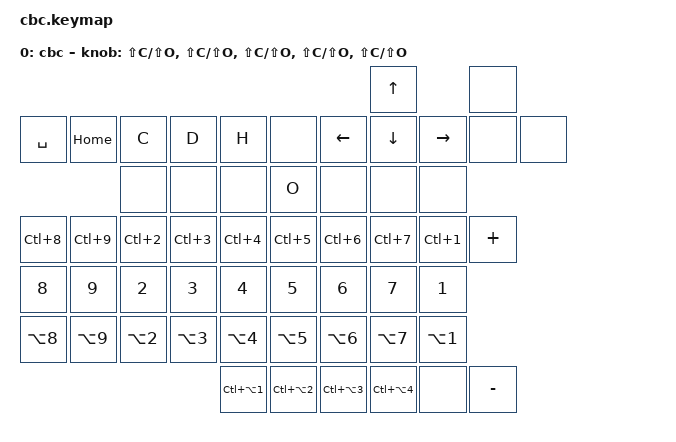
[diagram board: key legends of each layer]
#include <behaviors.dtsi>
#include <dt-bindings/zmk/keys.h>
#include <dt-bindings/zmk/bt.h>
#include <dt-bindings/zmk/outputs.h>

/ {
    keymap{
        compatible = "zmk,keymap";
        cbc{
            bindings = <
                                                                                                            &kp UP                      &none
            &kp SPACE   &kp HOME    &kp C       &kp D       &kp H           &none           &kp LEFT        &kp DOWN        &kp RIGHT   &none      &none
                                    &none       &none       &none           &kp O           &none           &none           &none     
            &kp LC(N8)  &kp LC(N9)  &kp LC(N2)  &kp LC(N3)  &kp LC(N4)      &kp LC(N5)      &kp LC(N6)      &kp LC(N7)      &kp LC(N1)  &kp PLUS
            &kp N8      &kp N9      &kp N2      &kp N3      &kp N4          &kp N5          &kp N6          &kp N7          &kp N1
            &kp LA(N8)  &kp LA(N9)  &kp LA(N2)  &kp LA(N3)  &kp LA(N4)      &kp LA(N5)      &kp LA(N6)      &kp LA(N7)      &kp LA(N1)
                                                            &kp LC(LA(N1))  &kp LC(LA(N2))  &kp LC(LA(N3))  &kp LC(LA(N4))  &none       &kp MINUS     
            >;
            sensor-bindings = <&inc_dec_kp LS(C) LS(O) &inc_dec_kp LS(C) LS(O) &inc_dec_kp LS(C) LS(O) &inc_dec_kp LS(C) LS(O) &inc_dec_kp LS(C) LS(O)>;
        };
    };

    sensors: sensors {
        compatible = "zmk,keymap-sensors";
        sensors = <&sw1_encoder &sw2_encoder &sw3_encoder &sw4_encoder &sw5_encoder>;
        triggers-per-rotation = <2>;
    };

    combos {
        compatible = "zmk,combos";
        
        pgdn {
            timeout-ms = <80>;
            key-positions = <12 11 9>;
            bindings = <&kp PG_DN>;
        };

        pgup{
            timeout-ms = <80>;
            key-positions = <12 11 0>;
            bindings = <&kp PG_UP>;
        };

        shft_pgdn{
            timeout-ms = <80>;
            key-positions = <12 1 11 9>;
            bindings = <&kp LS(PG_DN)>;
        };

        shft_1{
            timeout-ms = <80>;
            key-positions = <9 47>;
            bindings = <&kp LS(N1)>;
        };

        shft_2{
            timeout-ms = <80>;
            key-positions = <11 41>;
            bindings = <&kp LS(N2)>;
        };

        shft_3{
            timeout-ms = <80>;
            key-positions = <11 42>;
            bindings = <&kp LS(N3)>;
        };

        shft_4{
            timeout-ms = <80>;
            key-positions = <11 43>;
            bindings = <&kp LS(N4)>;
        };

        shft_5{
            timeout-ms = <80>;
            key-positions = <11 44>;
            bindings = <&kp LS(N5)>;
        };

        shft_6{
            timeout-ms = <80>;
            key-positions = <11 45>;
            bindings = <&kp LS(N6)>;
        };

        shft_7{
            timeout-ms = <80>;
            key-positions = <11 46>;
            bindings = <&kp LS(N7)>;
        };

        shft_8{
            timeout-ms = <80>;
            key-positions = <11 39>;
            bindings = <&kp LS(N8)>;
        };

        shft_9{
            timeout-ms = <80>;
            key-positions = <11 40>;
            bindings = <&kp LS(N9)>;
        };

        shft_ctrl_1{
            timeout-ms = <80>;
            key-positions = <12 47>;
            bindings = <&kp LS(LC(N1))>;
        };

        shft_ctrl_2{
            timeout-ms = <80>;
            key-positions = <12 41>;
            bindings = <&kp LS(LC(N2))>;
        };

        shft_ctrl_3{
            timeout-ms = <80>;
            key-positions = <21 42>;
            bindings = <&kp LS(LC(N3))>;
        };

        shft_ctrl_4{
            timeout-ms = <80>;
            key-positions = <12 43>;
            bindings = <&kp LS(LC(N4))>;
        };

        shft_ctrl_5{
            timeout-ms = <80>;
            key-positions = <12 44>;
            bindings = <&kp LS(LC(N5))>;
        };

        shft_ctrl_6{
            timeout-ms = <80>;
            key-positions = <12 45>;
            bindings = <&kp LS(LC(N6))>;
        };

        shft_ctrl_7{
            timeout-ms = <80>;
            key-positions = <12 46>;
            bindings = <&kp LS(LC(N7))>;
        };

        shft_ctrl_8{
            timeout-ms = <80>;
            key-positions = <12 39>;
            bindings = <&kp LS(LC(N8))>;
        };

        shft_ctrl_9{
            timeout-ms = <80>;
            key-positions = <12 40>;
            bindings = <&kp LS(LC(N9))>;
        };

        s{
            timeout-ms = <80>;
            key-positions = <12 4>;
            bindings = <&kp S>;   
        };

        alt_s{
            timeout-ms = <80>;
            key-positions = <11 12 4>;
            bindings = <&kp LA(S)>;
        };

        m{
            timeout-ms = <80>;
            key-positions = <12 5>;
            bindings = <&kp M>;
        };

        alt_m{
            timeout-ms = <80>;
            key-positions = <11 12 5>;
            bindings = <&kp LA(M)>;
        };

        ctrl_shift_s{
            timeout-ms = <80>;
            key-positions = <12 1 3>;
            bindings = <&kp LC(LS(S))>;
        };

        esc{
            timeout-ms = <80>;
            key-positions = <11 53>;
            bindings = <&kp ESC>;
        };

        y{
            timeout-ms = <80>;
            key-positions = <11 29>;
            bindings = <&kp Y>;
        };

        l{
            timeout-ms = <80>;
            key-positions = <11 50>;
            bindings = <&kp L>; 
        };

        alt_0{
            timeout-ms = <80>;
            key-positions = <1 47>;
            bindings = <&kp LA(N0)>;    
        };

        p{
            timeout-ms = <80>;
            key-positions = <1 39>;
            bindings = <&kp P>;  
        };

        shft_l{
            timeout-ms = <80>;
            key-positions = <1 7>;
            bindings = <&kp LS(L)>;
        };

        t{
            timeout-ms = <80>;
            key-positions = <1 43>;
            bindings = <&kp T>;  
        };

        i{
            timeout-ms = <80>;
            key-positions = <11 16>;
            bindings = <&kp I>;            
        };

        a{
            timeout-ms = <80>;
            key-positions = <11 17>;
            bindings = <&kp A>;            
        };

        b{
            timeout-ms = <80>;
            key-positions = <11 48>;
            bindings = <&kp B>;            
        };

        r{
            timeout-ms = <80>;
            key-positions = <11 49>;
            bindings = <&kp R>;            
        };       

        h{
            timeout-ms = <80>;
            key-positions = <11 51>;
            bindings = <&kp H>;            
        };        
    };
};

&kscan0 {
    debounce-press-ms = <7>;
    debounce-release-ms = <7>;
};

&sw1_encoder {
    status = "okay";
};

&sw2_encoder {
    status = "okay";
};

&sw3_encoder {
    status = "okay";
};

&sw4_encoder {
    status = "okay";
};

&sw5_encoder {
    status = "okay";
};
